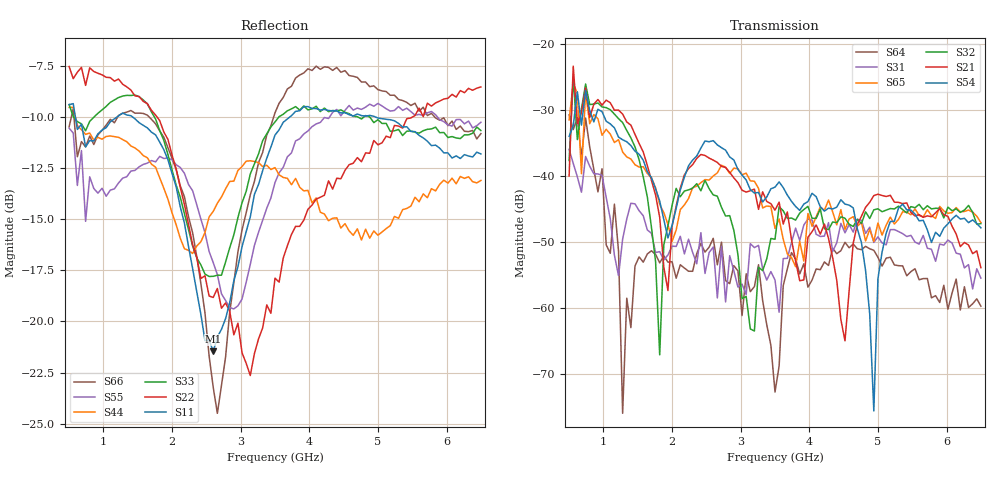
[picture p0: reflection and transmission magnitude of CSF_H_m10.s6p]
!Keysight Technologies,M9804A,MY58100912,A.14.10.03
!Date: Thursday, April 27, 2023 10:28:33
!Correction: S11(C  6-Port  )
!S12(C  6-Port  )
!S13(C  6-Port  )
!S14(C  6-Port  )
!S15(C  6-Port  )
!S16(C  6-Port  )
!S21(C  6-Port  )
!S22(C  6-Port  )
!S23(C  6-Port  )
!S24(C  6-Port  )
!S25(C  6-Port  )
!S26(C  6-Port  )
!S31(C  6-Port  )
!S32(C  6-Port  )
!S33(C  6-Port  )
!S34(C  6-Port  )
!S35(C  6-Port  )
!S36(C  6-Port  )
!S41(C  6-Port  )
!S42(C  6-Port  )
!S43(C  6-Port  )
!S44(C  6-Port  )
!S45(C  6-Port  )
!S46(C  6-Port  )
!S51(C  6-Port  )
!S52(C  6-Port  )
!S53(C  6-Port  )
!S54(C  6-Port  )
!S55(C  6-Port  )
!S56(C  6-Port  )
!S61(C  6-Port  )
!S62(C  6-Port  )
!S63(C  6-Port  )
!S64(C  6-Port  )
!S65(C  6-Port  )
!S66(C  6-Port  )
!S6P File: Measurement: :
# Hz S  RI  R 50
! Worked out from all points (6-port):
!   101 points, 500 MHz to 6.5 GHz, reference 50 ohm
!   strongest paths, dB at 500 MHz, 2 GHz, 3.5 GHz, 5 GHz, 6.5 GHz:
!     S54: -34.0, -47.5, -41.7, -55.6, -47.9
!     S21: -40.0, -47.7, -45.2, -42.8, -53.9
!     S32: -37.7, -44.5, -49.6, -45.0, -47.2
!     S65: -31.5, -49.9, -47.9, -47.1, -47.1
!     S31: -36.0, -50.6, -55.8, -49.2, -55.5
!     S64: -30.8, -53.0, -72.7, -52.3, -59.7
!   lowest |S11| = -21.5 dB at 2.6 GHz (marker M1), VSWR 1.18, Z = 42.5 + j2.12 ohm
!   |S11| at or under -10 dB: 591.5 MHz to 1.193 GHz (601.6 MHz wide, 67.4 % of centre); 1.429 GHz to 3.712 GHz (2.283 GHz wide, 88.8 % of centre); 4.971 GHz to end of sweep
